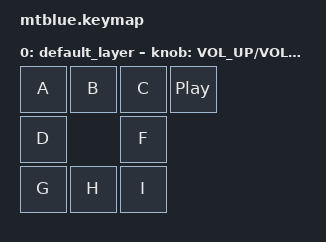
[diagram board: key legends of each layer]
#include <behaviors.dtsi>
#include <dt-bindings/zmk/keys.h>

/ {
    keymap {
        compatible = "zmk,keymap";

        default_layer {
           bindings = <
    &kp A    &kp B    &kp C &kp C_PLAY_PAUSE
    &kp D             &kp F
    &kp G    &kp H    &kp I
    
    >;

            sensor-bindings = <&inc_dec_kp C_VOL_UP C_VOL_DN>;
        };
    };
};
